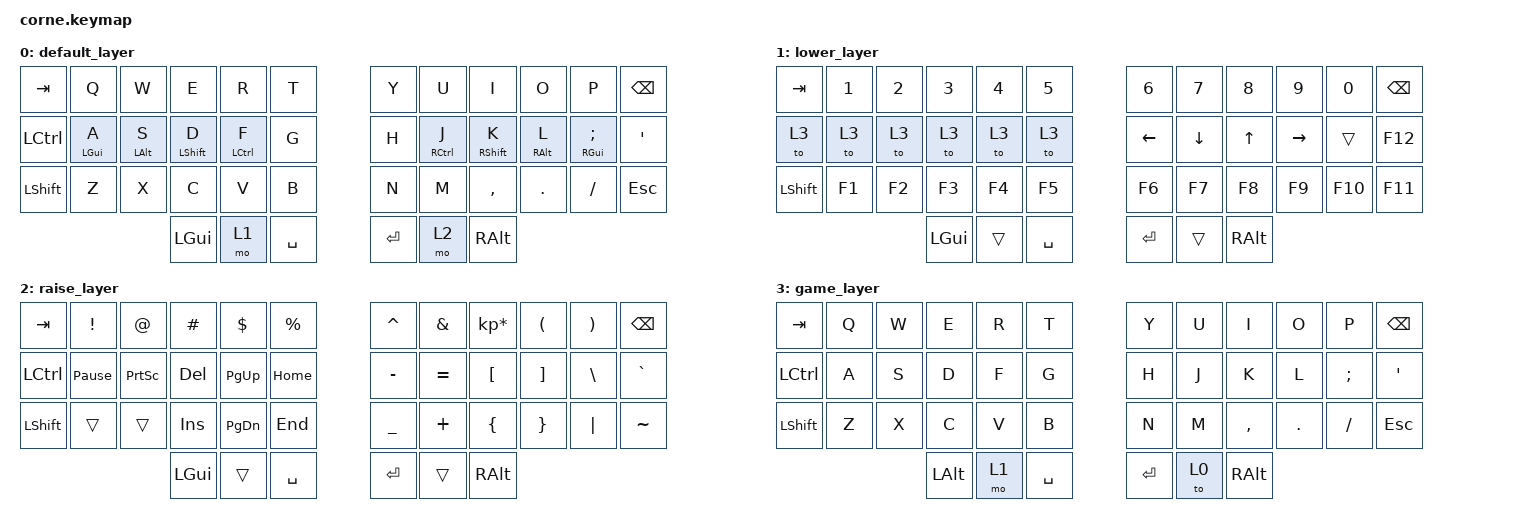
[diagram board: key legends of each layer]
/*
 * Copyright (c) 2020 The ZMK Contributors
 *
 * SPDX-License-Identifier: MIT
 */

#include <behaviors.dtsi>
#include <dt-bindings/zmk/keys.h>
#include <dt-bindings/zmk/bt.h>

#include "zmk-helpers/key-labels/42.h"                                                 // Source key-labels.
#define KEYS_L LT0 LT1 LT2 LT3 LT4 LT5 LM0 LM1 LM2 LM3 LM4 LM5 LB0 LB1 LB2 LB3 LB4 LB5 // Left-hand keys.
#define KEYS_R RT0 RT1 RT2 RT3 RT4 RT5 RM0 RM1 RM2 RM3 RM4 RM5 RB0 RB1 RB2 RB3 RB4 RB5 // Right-hand keys.
#define THUMBS LH2 LH1 LH0 RH0 RH1 RH2                                                 // Thumb keys.

/ {
    behaviors {
        hml: home_row_mod_left {
            compatible = "zmk,behavior-hold-tap";
            #binding-cells = <2>;
            flavor = "balanced";
            require-prior-idle-ms = <150>;
            tapping-term-ms = <280>;
            quick-tap-ms = <175>;
            bindings = <&kp>, <&kp>;
            hold-trigger-key-positions = < KEYS_R THUMBS >;
            hold-trigger-on-release;
        };
        hmr: home_row_mod_right {
            compatible = "zmk,behavior-hold-tap";
            #binding-cells = <2>;
            flavor = "balanced";
            require-prior-idle-ms = <150>;
            tapping-term-ms = <280>;
            quick-tap-ms = <175>;
            bindings = <&kp>, <&kp>;
            hold-trigger-key-positions = < KEYS_L THUMBS >;
            hold-trigger-on-release;
        };
    };

    keymap {
        compatible = "zmk,keymap";

        default_layer {
// -----------------------------------------------------------------------------------------
// |  TAB |  Q  |  W  |  E  |  R  |  T  |   |  Y  |  U   |  I  |  O  |  P  | BKSP |
// | CTRL |  A  |  S  |  D  |  F  |  G  |   |  H  |  J   |  K  |  L  |  ;  |  '   |
// | SHFT |  Z  |  X  |  C  |  V  |  B  |   |  N  |  M   |  ,  |  .  |  /  | ESC  |
//                    | GUI | LWR | SPC |   | ENT | RSE  | ALT |
            bindings = <
   &kp TAB   &kp Q       &kp W       &kp E        &kp R        &kp T       &kp Y &kp U         &kp I           &kp O        &kp P          &kp BSPC
   &kp LCTRL &hml LGUI A &hml LALT S &hml LSHFT D &hml LCTRL F &kp G       &kp H &hmr RCTRL J  &hmr RSHFT K    &hmr RALT L  &hmr RGUI SEMI &kp SQT
   &kp LSHFT &kp Z       &kp X       &kp C        &kp V        &kp B       &kp N &kp M         &kp COMMA       &kp DOT      &kp FSLH       &kp ESC
                                        &kp LGUI &mo 1 &kp SPACE       &kp RET &mo 2 &kp RALT
            >;
        };
        lower_layer {
// -----------------------------------------------------------------------------------------
// |  TAB |  1  |  2  |  3  |  4  |  5  |   |  6  |  7  |  8  |  9  |  0  | BKSP |
// | GL   |  GL |  GL |  GL |  GL |  GL |   | LFT | DWN |  UP | RGT |     |  f12 |
// | SHFT |  f1 |  f2 |  f3 |  f4 |  f5 |   |  f6 |  f7 |  f8 |  f9 | f10 |  f11 |
//                    | GUI |     | SPC |   | ENT |     | ALT |
            bindings = <
   &kp TAB    &kp N1       &kp N2       &kp N3       &kp N4       &kp N5             &kp N6   &kp N7   &kp N8 &kp N9    &kp N0  &kp BSPC
   &to 3      &to 3        &to 3        &to 3        &to 3        &to 3              &kp LEFT &kp DOWN &kp UP &kp RIGHT &trans  &kp F12
   &kp LSHFT  &kp F1       &kp F2       &kp F3       &kp F4       &kp F5             &kp F6   &kp F7   &kp F8 &kp F9    &kp F10 &kp F11
                                                     &kp LGUI &trans &kp SPACE       &kp RET &trans &kp RALT
            >;
        };
        raise_layer {
// -----------------------------------------------------------------------------------------
// |  TAB |  !   |  @   |  #  |  $   |  %   |   |  ^  |  &  |  *  |  (  |  )  | BKSP |
// | CTRL | PSBR | PRNT | DEL | PGUP | HOME |   |  -  |  =  |  [  |  ]  |  \  |  `   |
// | SHFT |      |      | INS | PGDN | END  |   |  _  |  +  |  {  |  }  | "|" |  ~   |
//                      | GUI |      | SPC  |   | ENT |     | ALT |
            bindings = <
   &kp  TAB  &kp EXCL         &kp AT    &kp HASH &kp DLLR  &kp PRCNT       &kp CARET &kp AMPS  &kp KP_MULTIPLY &kp LPAR &kp RPAR &kp BSPC
   &kp LCTRL &kp PAUSE_BREAK  &kp PSCRN &kp DEL  &kp PG_UP &kp HOME        &kp MINUS &kp EQUAL &kp LBKT        &kp RBKT &kp BSLH &kp GRAVE
   &kp LSHFT &trans           &trans    &kp INS  &kp PG_DN &kp END         &kp UNDER &kp PLUS  &kp LBRC        &kp RBRC &kp PIPE &kp TILDE
                                           &kp LGUI &trans &kp SPACE       &kp RET &trans &kp RALT
            >;
        };
        game_layer {
// -----------------------------------------------------------------------------------------
// |  TAB |  Q  |  W  |  E  |  R  |  T  |   |  Y  |  U   |  I  |  O  |  P  | BKSP |
// | CTRL |  A  |  S  |  D  |  F  |  G  |   |  H  |  J   |  K  |  L  |  ;  |  '   |
// | SHFT |  Z  |  X  |  C  |  V  |  B  |   |  N  |  M   |  ,  |  .  |  /  | ESC  |
//                    | GUI |     | SPC |   | ENT | base | ALT |
            bindings = <
   &kp TAB   &kp Q      &kp W      &kp E       &kp R       &kp T       &kp Y &kp U        &kp I           &kp O        &kp P         &kp BSPC
   &kp LCTRL &kp A      &kp S      &kp D       &kp F       &kp G       &kp H &kp J        &kp K           &kp L        &kp SEMI      &kp SQT
   &kp LSHFT &kp Z      &kp X      &kp C       &kp V       &kp B       &kp N &kp M        &kp COMMA       &kp DOT      &kp FSLH      &kp ESC
                                        &kp LALT &mo 1 &kp SPACE       &kp RET &to 0 &kp RALT
            >;
        };
    };
};
